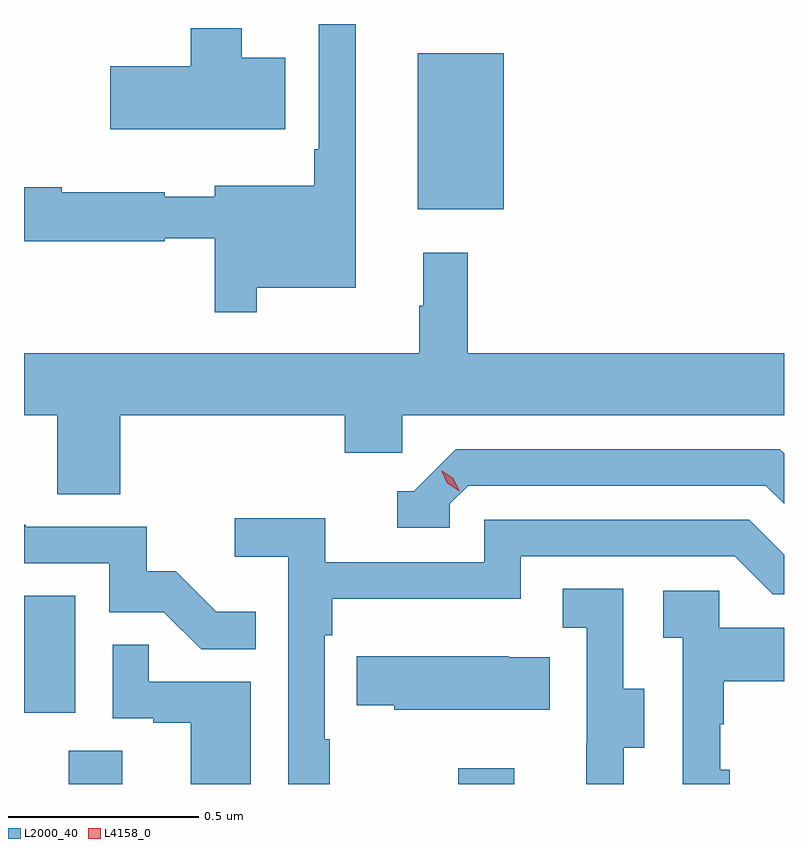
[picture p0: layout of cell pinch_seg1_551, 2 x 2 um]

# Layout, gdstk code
import gdstk
lib = gdstk.Library(unit=1e-6, precision=1e-09)
def R(c, l, rs):  # rectangles x0, y0, x1, y1
    for r in rs: c.add(gdstk.rectangle(r[:2], r[2:], *l))
def P(c, l, *ps):  # polygons
    for p in ps: c.add(gdstk.Polygon(p, *l))
L2000_40 = (2000, 40)
L4158_0 = (4158, 0)

pinch_seg1_551 = lib.new_cell('pinch_seg1_551')
R(pinch_seg1_551, L2000_40, [(1072.337,526.786,1072.477,526.874), (1073.362,526.786,1073.509,526.828), (1072.219,526.974,1072.354,527.281), (1073.255,528.299,1073.482,528.709)])
P(pinch_seg1_551, L2000_40, [(1072.831,528.092),(1073.092,528.092),(1073.092,528.786),(1072.995,528.786),(1072.995,528.457),(1072.983,528.457),(1072.983,528.361),(1072.721,528.361),(1072.721,528.331),(1072.59,528.331),(1072.59,528.343),(1072.318,528.343),(1072.318,528.356),(1072.219,528.356),(1072.219,528.214),(1072.59,528.214),(1072.59,528.222),(1072.721,528.222),(1072.721,528.027),(1072.831,528.027)],
  [(1072.906,528.697),(1072.792,528.697),(1072.792,528.775),(1072.658,528.775),(1072.658,528.675),(1072.446,528.675),(1072.446,528.509),(1072.906,528.509)],
  [(1072.472,527.756),(1073.063,527.756),(1073.063,527.658),(1073.214,527.658),(1073.214,527.756),(1074.219,527.756),(1074.219,527.92),(1073.387,527.92),(1073.387,528.184),(1073.27,528.184),(1073.27,528.044),(1073.259,528.044),(1073.259,527.92),(1072.219,527.92),(1072.219,527.756),(1072.307,527.756),(1072.307,527.548),(1072.472,527.548)],
  [(1073.34,527.523),(1073.388,527.571),(1074.171,527.571),(1074.219,527.523),(1074.219,527.656),(1074.208,527.667),(1073.355,527.667),(1073.244,527.556),(1073.201,527.556),(1073.201,527.46),(1073.34,527.46)],
  [(1073.023,526.904),(1073.01,526.904),(1073.01,527.177),(1073.03,527.177),(1073.03,527.273),(1073.526,527.273),(1073.526,527.385),(1074.09,527.385),(1074.189,527.286),(1074.219,527.286),(1074.219,527.389),(1074.127,527.481),(1073.43,527.481),(1073.43,527.37),(1073.012,527.37),(1073.012,527.486),(1072.773,527.486),(1072.773,527.384),(1072.914,527.384),(1072.914,526.786),(1073.023,526.786)],
  [(1072.829,527.239),(1072.725,527.239),(1072.618,527.346),(1072.542,527.346),(1072.542,527.463),(1072.223,527.463),(1072.223,527.468),(1072.219,527.468),(1072.219,527.367),(1072.443,527.367),(1072.443,527.238),(1072.587,527.238),(1072.685,527.14),(1072.829,527.14)],
  [(1073.797,526.882),(1073.851,526.882),(1073.851,527.037),(1073.796,527.037),(1073.796,527.3),(1073.637,527.3),(1073.637,527.197),(1073.7,527.197),(1073.7,526.893),(1073.699,526.893),(1073.699,526.786),(1073.797,526.786)],
  [(1074.076,526.824),(1074.051,526.824),(1074.051,526.943),(1074.061,526.943),(1074.061,527.057),(1074.219,527.057),(1074.219,527.197),(1074.048,527.197),(1074.048,527.295),(1073.901,527.295),(1073.901,527.171),(1073.952,527.171),(1073.952,526.786),(1074.076,526.786)],
  [(1072.816,527.055),(1072.547,527.055),(1072.547,527.153),(1072.452,527.153),(1072.452,526.959),(1072.559,526.959),(1072.559,526.947),(1072.658,526.947),(1072.658,526.786),(1072.816,526.786)],
  [(1073.603,527.119),(1073.495,527.119),(1073.495,527.122),(1073.095,527.122),(1073.095,526.993),(1073.193,526.993),(1073.193,526.982),(1073.603,526.982)])
P(pinch_seg1_551, L4158_0, [(1073.364,527.557),(1073.333,527.577),(1073.318,527.609),(1073.318,527.61),(1073.318,527.61),(1073.348,527.59),(1073.364,527.558),(1073.364,527.557)])

lib.write_gds('pinch_seg1_551.gds')
